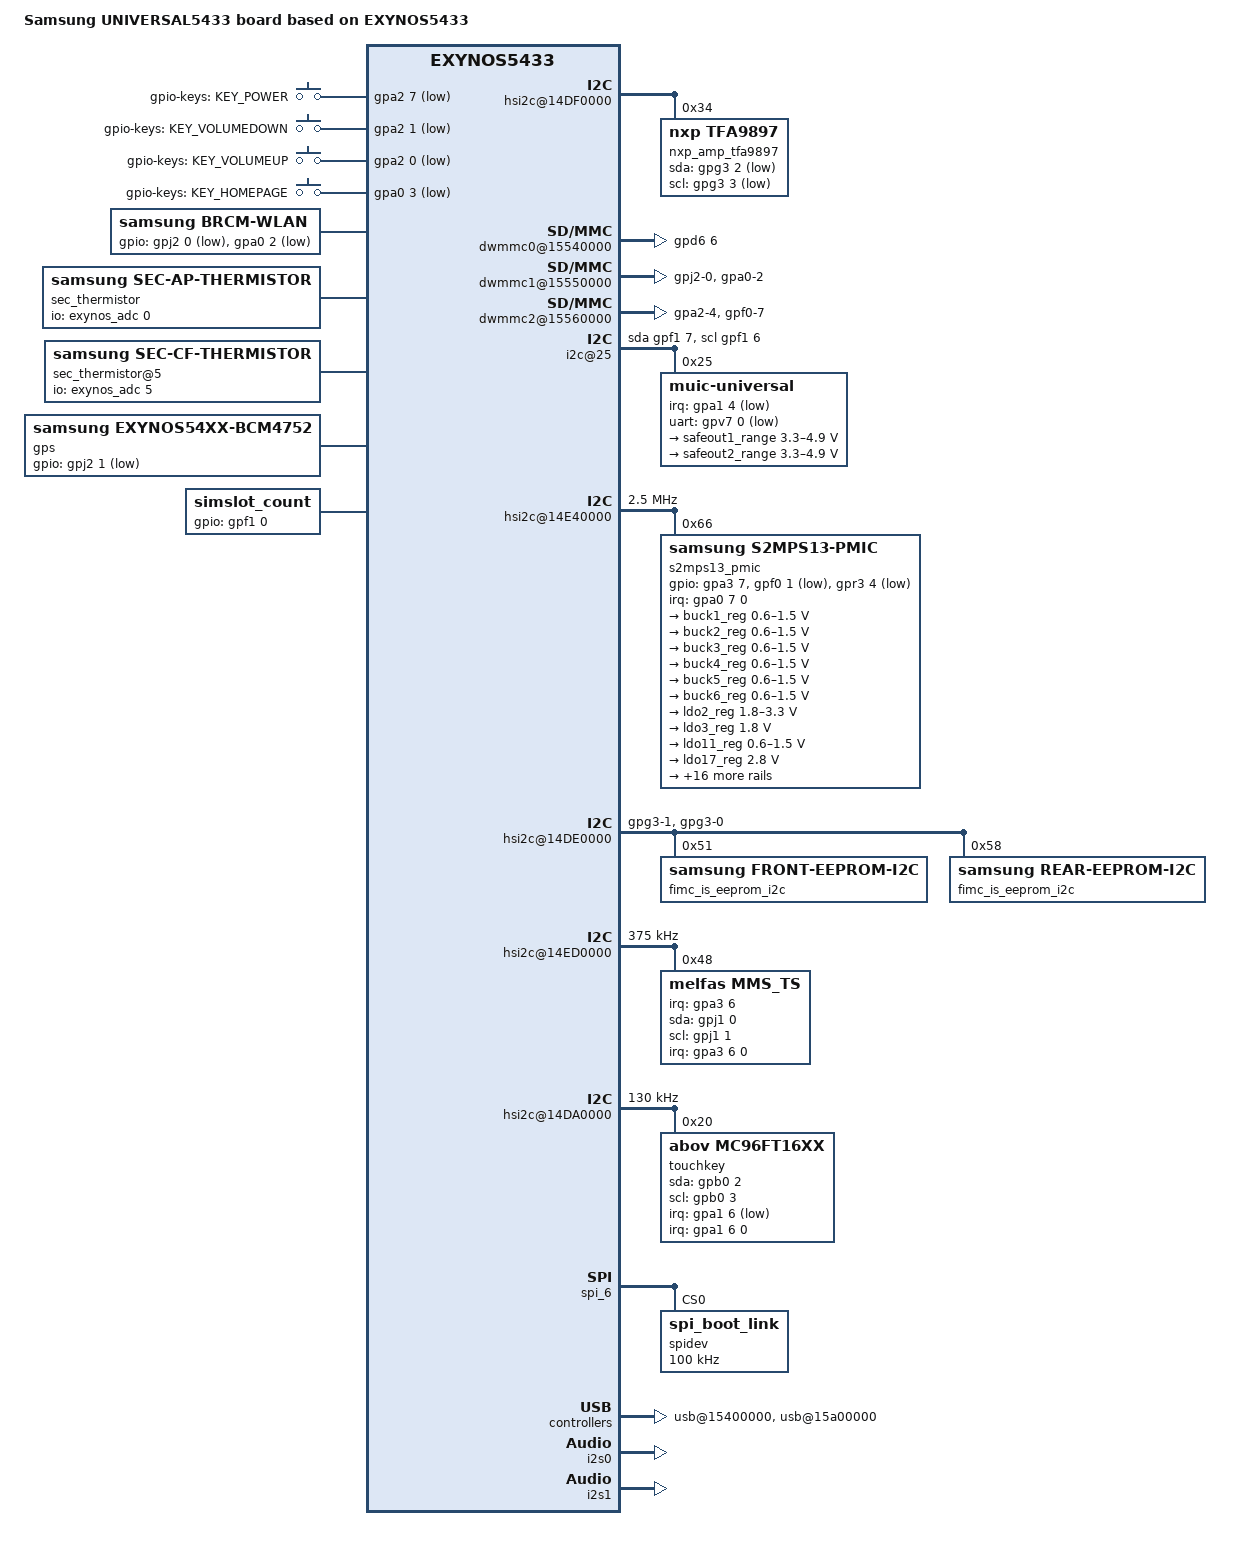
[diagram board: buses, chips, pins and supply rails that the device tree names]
/*
 * SAMSUNG UNIVERSAL5433 board device tree source
 *
 * Copyright (c) 2013 Samsung Electronics Co., Ltd.
 *		http://www.samsung.com
 *
 * This program is free software; you can redistribute it and/or modify
 * it under the terms of the GNU General Public License version 2 as
 * published by the Free Software Foundation.
*/

#include "exynos5433.dtsi"
#include "exynos5433-a8_codec-realtek.dtsi"

/ {

	model = "Samsung UNIVERSAL5433 board based on EXYNOS5433";
	compatible = "samsung,UNIVERSAL5433", "samsung,exynos5433";

	aliases {
		spi0 = &spi_0;
		spi1 = &spi_1;
		spi2 = &spi_2;
		spi3 = &spi_3;
		spi4 = &spi_4;
		spi5 = &spi_5;
		spi6 = &spi_6;
	};

	chosen {
		bootargs = "console=ttySAC1,115200 vmalloc=256M";
	};

	fixed-rate-clocks {
		oscclk {
			compatible = "samsung,exynos5433-oscclk";
			clock-frequency = <24000000>;
		};
	};

	/* removed unmatched settings */
	pinctrl@10580000 {
//		/delete-node/ hdmi_hdmi_hpd;
//		/delete-node/ hdmi_ext_hpd:
//		/delete-node/ hdmi_cec;
		/delete-node/ nfc_n5_en;
		/delete-node/ pcie_clkreq;
		/delete-node/ pcie_wake;
		/delete-node/ wlan_apstatus;
		/delete-node/ wlan_devicewake;
		/delete-node/ wlan_host_wake;
	};

	hsi2c@14DF0000 {
		samsung,i2c-sda-delay = <100>;
		samsung,i2c-max-bus-freq = <400000>;
		samsung,i2c-bus-num = <20>;
		status = "okay";
		nxp_amp_tfa9897@34 {
			compatible = "nxp,tfa9897";
			reg = <0x34>;
			nxp,sda-gpio = <&gpg3 2 0xf>;
			nxp,scl-gpio = <&gpg3 3 0xf>;
		};
	};

	dwmmc0@15540000 {
		status = "okay";
		num-slots = <1>;
		broken-cd;
		bypass-smu;
		clock-gate;
		enable-cclk-on-suspend;
		fixed_volt;
		only_once_tune;
		supports-highspeed;
		supports-hs200-1-8v-mode;
		supports-ddr200-1-8v-mode;
		supports-ddr200-enhanced-strobe;
		supports-poweroff-notification;
		device-driver = <1>;
		enable-cache-control;
		enable-no-sleep-cmd;
		use-fine-tuning;
		use-enable-shift;
		enable-ulp-mode;
		ignore-phase = <(1 << 7 | 1 << 6)>;
		extra_tuning;
		bypass-for-allpass;
		desc-size = <4>;
		fifo-depth = <0x80>;
		qos_int_level = <400000>;
		use-enable-shift;
		card-detect-delay = <200>;
		samsung,dw-mshc-ddr200-delay-line = <0x40>;
		samsung,dw-mshc-ddr200-tx-delay-line = <0x50>;
		samsung,dw-mshc-txdt-crc-timer-fastlimit = <0x34>;
		samsung,dw-mshc-txdt-crc-timer-initval = <0x38>;
		samsung,dw-mshc-ciu-div = <3>;
		samsung,dw-mshc-sdr-timing = <3 0 2 0>;
		samsung,dw-mshc-sdr-hs-timing = <3 0 2 1>;
		samsung,dw-mshc-ddr-timing = <3 0 3 2>;
		samsung,dw-mshc-hs200-timing = <3 0 3 0>;
		samsung,dw-mshc-ddr200-timing = <1 0 3 0>;
		samsung,dw-mshc-ddr200-ulp-timing = <3 0 3 0>;
		clk_pin = "gpr0-0";
		clk_addr = "15690000.pinctrl";
		clk_val = <0x3>;
		clk_str_num = <6>;
		num-ref-clks = <10>;
		ciu_clkin = <25 50 50 100 200 100 200 400 400 200>;
		pinctrl-names = "default";
		pinctrl-0 = <&sd0_clk &sd0_cmd &sd0_rdqs &sd0_bus1 &sd0_bus4 &sd0_bus8>;
		gpios = <&gpd6 6 0>;
		slot@0 {
			reg = <0>;
			bus-width = <8>;
		};
	};

	dwmmc1@15550000 {
		status = "okay";
		num-slots = <1>;
		channel = <1>;
		fixed_volt;
		clock-gate;
		enable-cclk-on-suspend;
		caps-control;
		supports-highspeed;
		supports-sdr104-mode;
		keep-power-in-suspend;
		pm-ignore-notify;
		cd-type-external;
		cd-type = <2>;
		use-broken-voltage;
		use-fine-tuning;
		ignore-phase = <(1 << 7)>;
		fifo-depth = <0x40>;
		card-detect-delay = <200>;
		qos_int_level = <200000>;
		samsung,dw-mshc-ciu-div = <3>;
		samsung,dw-mshc-sdr-timing = <3 0 2 1>;
		samsung,dw-mshc-ddr-timing = <3 0 3 2>;
		clk_pin = "gpr2-0";
		clk_addr = "15690000.pinctrl";
		clk_val = <0x2>;
		clk_str_num = <6>;
		num-ref-clks = <8>;
		ciu_clkin = <25 50 50 100 200 100 200 400>;
		pinctrl-names = "default";
		//pinctrl-0 = <&sd1_clk &sd1_cmd &sd1_bus1 &sd1_bus4>;
		pinctrl-0 = <&sd1_clk &sd1_cmd &sd1_bus1 &sd1_bus4 &cfg_wlanen &cfg_wlanhostwake>; /* Set WLAN_EN configuration of power down mode */

		slot@0 {
			reg = <0>;
			bus-width = <4>;
		};
	};

	dwmmc2@15560000 {
		status = "okay";
		num-slots = <1>;
		bypass-smu;
		supports-highspeed;
		supports-sdr104-mode;
		clock-gate;
		enable-cclk-on-suspend;
		fix-fmp-size-mismatch;
		not-allow-single-dma;
		desc-size = <4>;
		use-fine-tuning;
		bypass-for-allpass;
		cd-type = <0>;
		fifo-depth = <0x40>;
		card-detect-delay = <200>;
		qos_int_level = <400000>;
		ignore-phase = <(1 << 7)>;
		samsung,dw-mshc-ciu-div = <3>;
		samsung,dw-mshc-sdr-timing = <3 0 2 1>;
		samsung,dw-mshc-ddr-timing = <3 0 3 2>;
		clk_pin = "gpr4-0";
		clk_addr = "15690000.pinctrl";
		clk_val = <0x2>;
		clk_str_num = <6>;
		num-ref-clks = <8>;
		ciu_clkin = <25 50 50 100 200 100 200 400>;
		pinctrl-names = "default", "output";
		pinctrl-0 = <&sd2_clk &sd2_cmd &sd2_bus1 &sd2_bus4 &dwmmc2_cd_ext_irq &dwmmc2_vmmc_en_gpio>;
		pinctrl-1 = <&sd2_clk_output &sd2_cmd_output &sd2_bus1 &sd2_bus4 &dwmmc2_cd_ext_irq &dwmmc2_vmmc_en_gpio>;

		gpio-controller;
		#gpio-cells = <2>;
		cd-gpio = <&gpa2 4 0xf>;
		sec-sd-slot-type = <2>; /* Hybrid slot model */

		vmmc-en-gpio = <&gpf0 7 0x1>;

		slot@0 {
			reg = <0>;
			bus-width = <4>;
			disable-wp;
		};
	};

	/* LDO17_EN */
	pinctrl@11090000 {
		dwmmc2_vmmc_en_gpio: dwmmc2-vmmc-en-gpio {
			samsung,pins = "gpf0-7";
			samsung,pin-function = <0x1>;
			samsung,pin-pud = <0>;
		};
	};

	pinctrl@10580000 {
		/* HOME_KEY */
		ok_sw: ok-sw {
			samsung,pins = "gpa0-3";
			samsung,pin-pud = <3>;
			samsung,pin-drv = <0>;
		};
		/* VOL_UP VOL_DN */
		gpa2_none_pull: gpa2_none_pull {
			samsung,pins = "gpa2-0", "gpa2-1";
			samsung,pin-pud = <0>;
			samsung,pin-drv = <0>;
		};
		dwmmc2_cd_ext_irq: dwmmc2_cd_ext_irq {
			samsung,pins = "gpa2-4";
			samsung,pin-function = <0xf>;
			samsung,pin-pud = <0>;
			samsung,pin-drv = <0>;
		};
		pmic_irq: pmic-irq {
			samsung,pins = "gpa0-7";
			samsung,pin-pud = <0>;
			samsung,pin-drv = <3>;
		};
		muic_irq: muic-irq {
			samsung,pins = "gpa1-4";
			samsung,pin-function = <0>;
			samsung,pin-pud = <0>;
			samsung,pin-drv = <0>;
		};
		/* Warm reset information from AP */
		pm_wrsti: pm-wrsti {
			samsung,pins = "gpf5-4";
			samsung,pin-pud = <0>;
			samsung,pin-con-pdn = <3>;
		};

		gpa3_pull_up: gpa3_pull_up_for_smpl {
			samsung,pins = "gpa3-7";
			samsung,pin-function = <0xf>;
			samsung,pin-pud = <0>;
			samsung,pin-drv = <0>;
		};

		chg_irq: chg-irq {
			samsung,pins = "gpa0-0";
			samsung,pin-function = <0>;
			samsung,pin-pud = <1>;
			samsung,pin-drv = <0>;
		};
	};

	gpio_keys {
		compatible = "gpio-keys";
		#address-cells = <1>;
		#size-cells = <0>;
		pinctrl-names = "default";
		pinctrl-0 = <&ok_sw &gpa2_none_pull &chg_irq>;
		button@1 {
			label = "gpio-keys: KEY_POWER";
			interrupts = <7 0 0>;
			interrupt-parent = <&gpa2>;
			linux,code = <116>;
			gpios = <&gpa2 7 0xf>;
			gpio-key,wakeup = <1>;
		};
		button@2 {
			label = "gpio-keys: KEY_VOLUMEDOWN";
			interrupts = <1 0 0>;
			interrupt-parent = <&gpa2>;
			linux,code = <114>;
			gpios = <&gpa2 1 0xf>;
		};
		button@3 {
			label = "gpio-keys: KEY_VOLUMEUP";
			interrupts = <0 0 0>;
			interrupt-parent = <&gpa2>;
			linux,code = <115>;
			gpios = <&gpa2 0 0xf>;
		};
		button@4 {
			label = "gpio-keys: KEY_HOMEPAGE";
			interrupts = <3 0 0>;
			interrupt-parent = <&gpa0>;
			linux,code = <172>;
			gpios = <&gpa0 3 0xf>;
			gpio-key,wakeup = <1>;
		};
	};

	/* Touch I2C */
	pinctrl@14CE0000 {
		hs_i2c5_bus: hs-i2c5-bus {
			samsung,pins = "gpj1-1", "gpj1-0";
			samsung,pin-function = <4>;
			samsung,pin-pud = <0>;
			samsung,pin-drv = <0>;
			samsung,pin-con-pdn = <2>;
			samsung,pin-pud-pdn = <1>;
		};
	};

	/* USB & MUIC */
	pinctrl@14CC0000 {
		muic_i2c: muic_i2c {
			samsung,pins = "gpf1-6", "gpf1-7";
			samsung,pin-function = <1>;
			samsung,pin-pud = <0>;
			samsung,pin-drv = <0>;
		};

		uart_gpio: uart_gpio {
			samsung,pins = "gpv7-0";
			samsung,pin-function = <1>;
			samsung,pin-pud = <0>;
			samsung,pin-drv = <0>;
		};
	};

	i2c@25 {
		compatible = "i2c-gpio";
		gpios = <&gpf1 7 0 &gpf1 6 0>;
		i2c-gpio,delay-us = <2>;
		#address-cells = <1>;
		#size-cells = <0>;
		status = "ok";
		muic-universal@25 {
			compatible = "muic-universal";
			reg = <0x25>;
			pinctrl-names = "default";
			pinctrl-0 = <&muic_irq>;
			muic-universal,irq-gpio = <&gpa1 4 1>;
			muic-universal,uart-gpio = <&gpv7 0 1>;
			muic-universal,wakeup;

			regulators {
				ESAFEOUT1 {
					regulator-compatible = "safeout1";
					regulator-name = "safeout1_range";
					regulator-min-microvolt = <3300000>;
					regulator-max-microvolt = <4900000>;
					regulator-boot-on;
				};

				ESAFEOUT2 {
					regulator-compatible = "safeout2";
					regulator-name = "safeout2_range";
					regulator-min-microvolt = <3300000>;
					regulator-max-microvolt = <4900000>;
				};
			};

		};
	};
	usb_notifier {
		compatible = "samsung,usb-notifier";
	};

	muic {
		status = "disabled";
		muic,support-list = "+OTG:GND",
					"-MHL:1K",
					"-VZW Accessory:28.7K",
					"-VZW Incompatible:34K",
					"-Smartdock:40.2K",
					"-HMT:49.9K",
					"-Audiodock:64.9K",
					"-USB LANHUB:80.07K",
					"+Charging Cable:102K",
					"-Universal Multimedia dock:121K",
					"+Jig USB Off:255K",
					"+Jig USB On:301K",
					"+Deskdock:365K",
					"+TYPE2 Charger:442K",
					"+Jig UART Off:523K",
					"+Jig UART On:619K",
					"+TA:OPEN",
					"+USB:OPEN",
					"+CDP:OPEN",
					"+Undefined Charging:XXX";
	};

	pinctrl@14CA0000 {
		cfg_wlanen: cfg-wlanen {
			samsung,pins = "gpj2-0";
			samsung,pin-function = <1>;
			samsung,pin-drv = <3>;
			samsung,pin-con-pdn = <3>;
		};
	};

	pinctrl@10580000 {
		cfg_wlanhostwake: cfg-wlanhostwake {
			samsung,pins = "gpa0-2";
			samsung,pin-function = <0>;
			samsung,pin-pud = <1>;
			samsung,pin-con-pdn = <2>;
			samsung,pin-pud-pdn = <0>;
		};
	};

	wlan {
		compatible = "samsung,brcm-wlan";
		gpios = <&gpj2 0 0x1	/* WLAN_EN */
			 &gpa0 2 0xF	/* WLAN_HOST_WAKE */>;
		pinctrl-names = "default";
		pinctrl-0=<&cfg_wlanen &cfg_wlanhostwake>;
		status = "okay";
	};

	hsi2c@14E40000 {
		status = "okay";
		samsung,hs-mode;
		clock-frequency = <2500000>;

		s2mps13_pmic@66 {
			compatible = "samsung,s2mps13-pmic";
			reg = <0x66>;
			interrupts = <7 0 0>;
			interrupt-parent = <&gpa0>;
			gpios = <&gpa3 7 0>, <&gpf0 1 0x0>, <&gpg1 1 0x1>;
			smpl_warn_vth = <0x00>; /* 2.3V */
			smpl_warn_en = <1>; /* 1 : enable , 0 : disable*/
			g3d_en = <0>; /* 1 : enable , 0 : disable */
			dvs_en = <1>; /* 1 : enable , 0 : disable */
			/* RTC: wtsr/smpl */
			wtsr_en = <1>; /* enable */
			smpl_en = <1>; /* enable */
			wtsr_timer_val = <3>;	/* 1000ms */
			smpl_timer_val = <4>;	/* 500ms */
			check_jigon = <0>; /* do not check jigon */
			/* RTC: If it's first boot, reset rtc to 1/1/2014 12:00:00(Wed) */
			init_time,sec = <0>;
			init_time,min = <0>;
			init_time,hour = <12>;
			init_time,mday = <1>;
			init_time,mon = <0>;
			init_time,year = <114>;
			init_time,wday = <3>;
		};
	};

	hsi2c@14DE0000 {
		samsung,i2c-sda-delay = <100>;
		samsung,i2c-max-bus-freq = <400000>;
		status = "okay";
		pinctrl-names = "default";
		pinctrl-0 = <&hs_i2c10_bus>;
		fimc_is_eeprom_i2c@51 {
			compatible = "samsung,front-eeprom-i2c";
			use_i2c_pinctrl;
			reg = <0x51>;
			fimc_is_front_eeprom_pinname = "14cc0000.pinctrl";
			fimc_is_front_eeprom_sda ="gpg3-0"; //"gpc2-2";
			fimc_is_front_eeprom_scl = "gpg3-1"; // "gpc2-3";
			pinfunc_on = <4>;
			pinfunc_off = <0>;
		};
		fimc_is_eeprom_i2c@58 {
			compatible = "samsung,rear-eeprom-i2c";
			use_i2c_pinctrl;
			reg = <0x58>;
			fimc_is_rear_eeprom_pinname = "14cc0000.pinctrl";
			fimc_is_rear_eeprom_sda = "gpg3-0"; //"gpc2-2";
			fimc_is_rear_eeprom_scl = "gpg3-1"; // "gpc2-3";
			pinfunc_on = <4>;
			pinfunc_off = <0>;
		};
	};

	pinctrl@14CC0000 {
		hs_i2c10_bus: hs-i2c10-bus {
			samsung,pins = "gpg3-1", "gpg3-0";
			samsung,pin-function = <0>;
			samsung,pin-pud = <0>;
			samsung,pin-drv = <0>;
		};
	};

	pinctrl@10580000 {
		tsp_irq_active: tsp_irq_active {
			samsung,pins = "gpa3-6";
			samsung,pin-function = <0xf>;
			samsung,pin-pud = <0>;
			samsung,pin-drv = <0>;
		};
		tsp_irq_sleep: tsp_irq_sleep {
			samsung,pins = "gpa3-6";
			samsung,pin-function = <0>;
			samsung,pin-pud = <0>;
			samsung,pin-drv = <0>;
		};
	};

	hsi2c@14ED0000 {
		samsung,transfer_delay = <100>;
		clock-frequency = <375000>;
		status = "okay";
		mms_ts@48 {
			compatible = "melfas,mms_ts";
			reg = <0x48>; /*slave address*/
			interrupt-parent = <&gpa3>;
			interrupts = <6 0 0>; /* Touch int gpio */
			pinctrl-names = "tsp_gpio_active", "tsp_gpio_suspend";
			pinctrl-0 = <&tsp_irq_active>;
			pinctrl-1 = <&tsp_irq_sleep>;
			melfas,regulator_avdd = "tsp_avdd";
			melfas,regulator_vdd = "tsp_io";
			melfas,irq-gpio = <&gpa3 6 0>; /*TSP IRQ GPIO */
			melfas,sda-gpio = <&gpj1 0 0>;
			melfas,scl-gpio = <&gpj1 1 0>;
			melfas,max_x = <2160>; /*max x*/
			melfas,max_y = <3840>; /*max y*/
		};
	};

	pinctrl@10580000 {
		touchkey_int_active: touchkey_int_active {
			samsung,pins = "gpa1-6";
			samsung,pin-function = <0xf>;
			samsung,pin-pud = <0>;
			samsung,pin-drv = <0>;
		};
		touchkey_int_suspend: touchkey_int_suspend {
			samsung,pins = "gpa1-6";
			samsung,pin-function = <0>;
			samsung,pin-pud = <0>;
			samsung,pin-drv = <0>;
		};
	};

	hsi2c@14DA0000 {
		status = "okay";
		clock-frequency = <130000>;
		samsung,scl-clk-stretching;

		touchkey@20 {
			pinctrl-names = "on_irq","off_irq";
			pinctrl-0 = <&touchkey_int_active>;
			pinctrl-1 = <&touchkey_int_suspend>;
			compatible = "abov,mc96ft16xx";
			reg = <0x20>;
			interrupts = <6 0 0>;
			interrupt-parent = <&gpa1>;
			abov,sda-gpio = <&gpb0 2 0>;
			abov,scl-gpio = <&gpb0 3 0>;
			abov,irq-gpio = <&gpa1 6 1>;
			abov,regulator_ic = "vtouch_2.8v";
			abov,regulator_led = "vtouch_led_2.8v";
			abov,boot-on-ldo = "true";
		};
	};

	input_booster {
		status = "okay";
		compatible = "input_booster";
		#address-cells = <1>;
		#size-cells = <0>;

		booster_key@1{
			input_booster,label = "TOUCH";
			input_booster,type = <0>;	/* BOOSTER_DEVICE_TOUCH */

			input_booster,levels = <1 2 3 4 5 9 10>;

			/* Frequency table */
			/* for level	:		1_Head, 2_Tail, 3_Head, 4_Head/Tail, 5_Head, 9_Head, 9_Tail */
			input_booster,cpu_freqs = <1200000 0 0 0 0 1800000 1400000>;
			input_booster,hmp_boost = <1 0 0 0 0 1 1>;
			input_booster,kfc_freqs = <0 1200000 1200000 1200000 1200000 1300000 1300000>;
			input_booster,mif_freqs = <667000 413000 413000 413000 413000 825000 825000>;
			input_booster,int_freqs = <267000 0 0 0 0 400000 400000>;

			/* Time table */
			input_booster,head_times = <130 130 130 130 130 500 0>;
			input_booster,tail_times = <500 500 500 200 500 1000 0>;
			input_booster,phase_times = <0 0 0 0 0 0 0>;
		};
		booster_key@2 {
			input_booster,label = "KEY";
			input_booster,type = <2>;	/* BOOSTER_DEVICE_KEY */

			input_booster,levels = <1>;

			/* Frequency table */
			/* for level	:	1_Head */
			input_booster,cpu_freqs = <1200000>;
			input_booster,hmp_boost = <1>;
			input_booster,kfc_freqs = <0>;
			input_booster,mif_freqs = <0>;
			input_booster,int_freqs = <0>;

			/* Time table */
			input_booster,head_times = <500>;
			input_booster,tail_times = <500>;
			input_booster,phase_times = <0>;
		};
		booster_key@3 {
			input_booster,label = "TOUCHKEY";
			input_booster,type = <3>;	/* BOOSTER_DEVICE_TOUCHKEY */

			input_booster,levels = <1>;

			/* Frequency table */
			/* for level	:	1_Head */
			input_booster,cpu_freqs = <1200000>;
			input_booster,hmp_boost = <1>;
			input_booster,kfc_freqs = <0>;
			input_booster,mif_freqs = <0>;
			input_booster,int_freqs = <0>;

			/* Time table */
			input_booster,head_times = <0>;
			input_booster,tail_times = <200>;
			input_booster,phase_times = <0>;
		};

		/* If you need to add new key type, add it this position */
	};

	ion {
		compatible = "samsung,exynos5430-ion";

		contig-names = "common",
			       "video_ext",
			       "mfc_sh",
			       "g2d_wfd",
			       "video",
			       "sectbl",
			       "mfc_fw",
			       "mfc_nfw",
			       "secdma";

		contig = <0 0x600000 0x9da00000>,
			 <1 0x600000 0x9d400000>,
			 <2 0x100000 0x92900000>,
			 <10 0x800000 0x9cc00000>,
			 <11 0x8100000 0x92a00000>,
			 <9 0x100000 0x92400000>,
			 <8 0x200000 0x92700000>,
			 <12 0x200000 0x92500000>,
			 <13 0x20000 0x92300000>;

		contig-isolate_on_boot = <0>, <1>, <2>, <8>,
					  <9>, <10>, <11>, <12>, <13>;

		secure = <11>, <9>, <8>, <1>;

		ion_noncontig_heap {
			id-type = <0 0>;
		};

		exynos_contig_heap {
			id-type = <4 6>;
		};
	};

	spi_5: spi@141a0000 {
		status = "disabled";
	};

	spi_6: spi@141b0000 {
		fimc-is-spi;
		status = "okay";

		spidev@0 {
			#address-cells = <1>;
			#size-cells = <1>;
			compatible = "spi_boot_link";
			reg = <0x0>;
			spi-max-frequency = <100000>;

			controller-data {
				samsung,spi-feedback-delay = <0>;
				samsung,spi-chip-select-mode = <1>;
			};
		};
	};


	/* Companion driver */
	fimc_is_companion: fimc_is_companion@14180000 {
		status = "disabled";
	};

	fimc_is_sensor0: fimc_is_sensor@12100000 {
		scenario = <0>;
		clock-names =
			/* SENSOR0 MCLK */
			"sclk_isp_sensor0",		/* 33 */
			"mout_sclk_isp_sensor0",	/* 3066 */
			"dout_sclk_isp_sensor0_a",	/* 4090 */
			"dout_sclk_isp_sensor0_b",	/* 4091 */

			"mout_bus_pll_user",		/* 3010 */
			"oscclk",			/* 5000 */

			/* SPI-ISP */
			"sclk_isp_spi0_top",		/* 30 */
			"sclk_isp_spi1_top",		/* 31 */
			"mout_sclk_isp_spi0",		/* 3063 */
			"mout_sclk_isp_spi1",		/* 3064 */

			"gate_isp_spi1",		/* 2625 */
			"gate_isp_spi0",		/* 2626 */
			"dout_sclk_isp_spi0_a",		/* 4080 */
			"dout_sclk_isp_spi0_b",		/* 4081 */
			"dout_sclk_isp_spi1_a",		/* 4082 */
			"dout_sclk_isp_spi1_b",		/* 4083 */

			"mout_sclk_isp_spi0_user",	/* 3180 */
			"mout_sclk_isp_spi1_user",	/* 3181 */

			/* CMU TOP */
			"dout_aclk_cam1_333",		/* 4047 */

			/* USER_MUX_SEL */
			"aclk_cam1_333",		/* 342 */
			"mout_aclk_cam1_333_user",	/* 3225 */

			/* MPWM */
			"dout_pclk_cam1_166",		/* 4183 */
			"dout_pclk_cam1_83",		/* 4184 */
			"dout_sclk_isp_mpwm";		/* 4185 */
		clocks =
			/* SENSOR0 MCLK */
			<&clock 33>,
			<&clock 3066>,
			<&clock 4090>,
			<&clock 4091>,

			<&clock 3010>,
			<&clock 5000>,

			/* SPI-ISP */
			<&clock 30>,
			<&clock 31>,
			<&clock 3063>,
			<&clock 3064>,

			<&clock 2625>,
			<&clock 2626>,
			<&clock 4080>,
			<&clock 4081>,
			<&clock 4082>,
			<&clock 4083>,

			<&clock 3180>,
			<&clock 3181>,

			/* CMU TOP */
			<&clock 4047>,

			/* USER_MUX_SEL */
			<&clock 342>,
			<&clock 3225>,

			/* MPWM */
			<&clock 4183>,
			<&clock 4184>,
			<&clock 4185>;
		pinctrl-names ="default", "ch0", "af0", "off0";
		pinctrl-0 = <&fimc_is_ch0_i2c &fimc_is_ch0_mclk_off &fimc_is_ch1_i2c>;
		pinctrl-1 = <&fimc_is_ch0_i2c &fimc_is_ch0_mclk>;
		pinctrl-2 = <&fimc_is_ch0_i2c &fimc_is_ch0_mclk &fimc_is_ch1_i2c>;
		pinctrl-3 = <&fimc_is_ch0_mclk_off>;

		scenario = <0>;
		gpio_reset = <&gpc0 4 0x1>;
		gpios_cam_en = <&gpc0 5 0x1>;
		id = <0>;
		mclk_ch = <0>;
		csi_ch = <0>;
		flite_ch = <0>;
		i2c_ch = <0x010100>;
		i2c_addr = <0x001800>;
		actuator_id = <13>;
		flash_id = <3>;
		flash_first_gpio = <1>;
		flash_second_gpio = <2>;
		sensor_name = "3p3";
		sensor_id = <23>;
		is_bns = <1>;
		status = "okay";
	};

	fimc_is_sensor1: fimc_is_sensor@12110000 {
		pinctrl-names ="default", "ch1", "off1";
		pinctrl-0 = <&fimc_is_ch2_mclk_off>;
		pinctrl-1 = <&fimc_is_ch2_i2c &fimc_is_ch2_mclk>;
		pinctrl-2 = <&fimc_is_ch2_mclk_off>;

		scenario = <0>;
		gpio_reset = <&gpc0 3 0x1>;
		id = <1>;
		mclk_ch = <2>;
		csi_ch = <1>;
		flite_ch = <1>;
		i2c_ch = <0x2>;
		i2c_addr = <0x20>;
		sensor_name = "5e3";
		sensor_id = <17>;
		is_bns = <0>;
		status = "okay";
	};

	fimc_is@14000000 {
		interrupts = <0 165 0>; /* Remove ISP_GIC to use FIMC IS i2c channel in host */
		companion_spi_channel = <0>;

		use_sensor_dynamic_voltage_mode = <1>;
		/delete-property/ use_ois;
		/delete-property/ use_ois_hsi2c;
		use_module_check;
		/delete-property/ pinctrl-names;
		/delete-property/ pinctrl-0;
		total_camera_num = <2>;

		camera_info0 {				// 0 : rear
			isp = <0>;				/* 0 : INT , 1 : EXT , 2 : SOC */
			cal_memory = <2>;		/* 0 : N , 1 : FROM , 2 : EEPROM , 3 : OTP  */
			read_version = <0>;		/* 0 : SYSFS , 1 : CAMON */
			core_voltage = <0>;		/* 0 : N , 1 : Y  */
			upgrade = <0>;			/* 0 : N , 1 : SYSFS , 2 : CAMON */
			companion = <0>;	/* 0 : N , 1 : Y  */
			ois = <0>;				/* 0 : N , 1 : Y  */
		};
		camera_info1 {				// 1 : front
			isp = <0>;				/* 0 : INT , 1 : EXT , 2 : SOC */
			cal_memory = <2>;		/* 0 : N , 1 : FROM , 2 : EEPROM , 3 : OTP  */
			read_version = <0>;		/* 0 : SYSFS , 1 : CAMON */
			core_voltage = <0>;		/* 0 : N , 1 : Y  */
			upgrade = <0>;			/* 0 : N , 1 : SYSFS , 2 : CAMON */
			companion = <0>;	/* 0 : N , 1 : Y  */
			ois = <0>;				/* 0 : N , 1 : Y  */
		};

		/*
		 * INT_LV0 : 400000
		 * INT_LV1 : 334000
		 * INT_LV2 : 267000
		 * INT_LV3 : 200000
		 * INT_LV4 : 160000
		 * INT_LV5 : 133000
		 * INT_LV6 : 100000

		 * ISP_LV0 : 777000	// CAM0(L0), ISP&CAM1(L0)
		 * ISP_LV1 : 666000	// CAM0(L0), ISP&CAM1(L1)
		 * ISP_LV2 : 600000	// CAM0(L0), ISP&CAM1(L3)
		 * ISP_LV3 : 580000	// CAM0(L0), ISP&CAM1(L4)
		 * ISP_LV4 : 555000	// CAM0(L1), ISP&CAM1(L4)
		 * ISP_LV5 : 444000	// CAM0(L2), ISP&CAM1(L2)
		 * ISP_LV6 : 333000	// CAM0(L2), ISP&CAM1(L3)
		 * ISP_LV7 : 222000	// CAM0(L3), ISP&CAM1(L2)
		 * ISP_LV8 : 200000	// CAM0(L3), ISP&CAM1(L3)
		 * ISP_LV9 : 111000	// CAM0(L4), ISP&CAM1(L3)
		 * ISP_LV1 :  66000	// CAM0(L5), ISP&CAM1(L5)

		 * MIF_LV0 : 825000
		 * MIF_LV1 : 667000
		 * MIF_LV2 : 543000
		 * MIF_LV3 : 413000
		 * MIF_LV4 : 272000
		 * MIF_LV5 : 222000
		 * MIF_LV6 : 167000
		 * MIF_LV7 : 136000
		 * MIF_LV8 : 109000
		 * MIF_LV9 :  78000
		*/
		fimc_is_dvfs {
			default_int = <400000>; /* L0 */
			default_cam = <777000>; /* L0 */
			default_mif = <825000>; /* L0 */
			default_i2c = <0>;

			front_preview_int = <400000>; /* L0 */
			front_preview_cam = <666000>; /* L1 */
			front_preview_mif = <543000>; /* L2 */
			front_preview_i2c = <0>;

			front_capture_int = <400000>; /* L0 */
			front_capture_cam = <666000>; /* L1 */
			front_capture_mif = <543000>; /* L2 */
			front_capture_i2c = <0>;

			front_camcording_int = <400000>; /* L0 */
			front_camcording_cam = <666000>; /* L1 */
			front_camcording_mif = <543000>; /* L2 */
			front_camcording_i2c = <0>;

			front_vt1_int = <267000>; /* L2 */
			front_vt1_cam = <333000>; /* L6 */
			front_vt1_mif = <543000>; /* L2 */
			front_vt1_i2c = <0>;

			front_vt2_int = <267000>; /* L2 */
			front_vt2_cam = <333000>; /* L6 */
			front_vt2_mif = <543000>; /* L2 */
			front_vt2_i2c = <0>;

			rear_preview_fhd_bns_off_int = <267000>; /* L2 */
			rear_preview_fhd_bns_off_cam = <580000>; /* L3 */
			rear_preview_fhd_bns_off_mif = <543000>; /* L2 */
			rear_preview_fhd_bns_off_i2c = <0>;

			rear_preview_fhd_int = <267000>; /* L2 */
			rear_preview_fhd_cam = <580000>; /* L3 */
			rear_preview_fhd_mif = <543000>; /* L2 */
			rear_preview_fhd_i2c = <0>;

			rear_preview_whd_int = <334000>; /* L1 */
			rear_preview_whd_cam = <600000>; /* L2 */
			rear_preview_whd_mif = <667000>; /* L1 */
			rear_preview_whd_i2c = <0>;

			rear_preview_uhd_int = <400000>; /* L0 */
			rear_preview_uhd_cam = <666000>; /* L1 */
			rear_preview_uhd_mif = <825000>; /* L0 */
			rear_preview_uhd_i2c = <0>;

			rear_capture_int = <400000>; /* L0 */
			rear_capture_cam = <777000>; /* L0 */
			rear_capture_mif = <667000>; /* L1 */
			rear_capture_i2c = <0>;

			rear_camcording_fhd_bns_off_int = <267000>; /* L2 */
			rear_camcording_fhd_bns_off_cam = <580000>; /* L3 */
			rear_camcording_fhd_bns_off_mif = <543000>; /* L2 */
			rear_camcording_fhd_bns_off_i2c = <0>;

			rear_camcording_fhd_int = <267000>; /* L2 */
			rear_camcording_fhd_cam = <580000>; /* L3 */
			rear_camcording_fhd_mif = <543000>; /* L2 */
			rear_camcording_fhd_i2c = <0>;

			rear_camcording_whd_int = <334000>; /* L1 */
			rear_camcording_whd_cam = <600000>; /* L2 */
			rear_camcording_whd_mif = <667000>; /* L1 */
			rear_camcording_whd_i2c = <0>;

			rear_camcording_uhd_int = <400000>; /* L0 */
			rear_camcording_uhd_cam = <666000>; /* L1 */
			rear_camcording_uhd_mif = <825000>; /* L0 */
			rear_camcording_uhd_i2c = <0>;

			dual_preview_int = <334000>; /* L1 */
			dual_preview_cam = <444000>; /* L5 */
			dual_preview_mif = <825000>; /* L0 */
			dual_preview_i2c = <0>;

			dual_capture_int = <400000>; /* L0 */
			dual_capture_cam = <777000>; /* L0 */
			dual_capture_mif = <825000>; /* L0 */
			dual_capture_i2c = <0>;

			dual_camcording_int = <334000>; /* L1 */
			dual_camcording_cam = <444000>; /* L5 */
			dual_camcording_mif = <825000>; /* L0 */
			dual_camcording_i2c = <0>;

			high_speed_fps_int = <400000>; /* L0 */
			high_speed_fps_cam = <222000>; /* L7 */
			high_speed_fps_mif = <825000>; /* L0 */
			high_speed_fps_i2c = <0>;

			dis_enable_int = <400000>; /* L0 */
			dis_enable_cam = <777000>; /* L0 */
			dis_enable_mif = <825000>; /* L0 */
			dis_enable_i2c = <0>;

			max_int = <400000>; /* L0 */
			max_cam = <777000>; /* L0 */
			max_mif = <825000>; /* L0 */
			max_i2c = <0>;
		};
	};

	/* FIMC gpio pin configs */
	pinctrl@14CC0000 {
		fled_flash_sleep: fled-flash-sleep {
			samsung,pins = "gpc0-2", "gpc0-1";
			samsung,pin-function = <2>;
			samsung,pin-pud = <1>;
			samsung,pin-drv = <0>;
		};

		fled_flash_active: fled-flash-active {
			samsung,pins = "gpc0-2", "gpc0-1";
			samsung,pin-function = <1>;
			samsung,pin-pud = <0>;
			samsung,pin-drv = <0>;
		};

		fimc_is_ch0_i2c: fimc-is-ch0_i2c {
			samsung,pins = "gpc2-1", "gpc2-0";
			samsung,pin-function = <2>;
			samsung,pin-pud = <0>;
			samsung,pin-drv = <0>;
		};

		fimc_is_ch0_mclk: fimc-is-ch0_mclk {
			samsung,pin-drv = <1>;
		};

		fimc_is_ch0_mclk_off: fimc-is-ch0_mclk_off {
			samsung,pins = "gpd7-0";
			samsung,pin-function = <1>;
			samsung,pin-pud = <1>;
			samsung,pin-drv = <0>;
		};

		fimc_is_ch2_mclk: fimc-is-ch2-mclk {
			samsung,pin-drv = <1>;
		};

		fimc_is_ch2_mclk_off: fimc-is-ch2-mclk-off {
			samsung,pins = "gpd7-2";
			samsung,pin-function = <1>;
			samsung,pin-pud = <1>;
			samsung,pin-drv = <0>;
		};
	};

	/* USB */
	usb@15400000 {
		status = "okay";
		/* using gpio (1:use, 0:not use) */
		is_gpio = <0>;

		dwc3 {
			maximum-speed = "high-speed";
			dr_mode = "otg";
			adj-sof-accuracy;
		};
	};

	usb@15a00000 {
		status = "okay";
		/* using gpio (1:use, 0:not use) */
		is_gpio = <0>;

		dwc3 {
			maximum-speed = "high-speed";
			dr_mode = "otg";
		};
	};

	/* THERMAL */
	ipa_pdata {
		compatible = "samsung,exynos-ipa";

		control_temp = <81>;
		temp_threshold = <30>;
		enabled = <1>;
		tdp = <3500>;
		boost = <1>;
		ros_power = <500>;
		a7_weight = <1024>;
		a15_weight = <256>;
		gpu_weight = <256>;
		a7_max_power = <1000>;
		a15_max_power = <6552>;
		gpu_max_power = <3110>;
		hotplug_out_threshold = <10>;
		hotplug_in_threshold = <0>;
		enable_ctlr = <1>;
		ctlr.mult = <2>;
		ctlr.k_i = <1>;
		ctlr.k_d = <0>;
		ctlr.feed_forward = <1>;
		ctlr.integral_reset_value = <0>;
		ctlr.integral_cutoff = <0>;
		ctlr.integral_reset_threshold = <10>;
	};

	i2s0: i2s@11440000 {
		status = "okay";
	};

	i2s1: i2s@14D60000 {
		status = "okay";
	};

	i2s_dummy: dummy-i2s {
		compatible = "snd-soc-dummy";
		status = "okay";
	};

	codec_dummy: dummy-codec {
		compatible = "samsung,dummy-codec";
		status = "okay";
	};

/*	sound {
		compatible = "samsung,pacific-arizona";
		samsung,audio-cpu = <&i2s0>;
		samsung,audio-codec = <&audio_codec
				       &audio_codec
				       &audio_codec
				       &audio_codec
				       &audio_codec
				       &audio_codec
				       &audio_codec
				       &audio_codec
				       &audio_codec
				       &audio_codec>;
		clocks = <&clock 4300>;
		clock-names = "mclk";
		status = "okay";
	}; */

	secgpio_dvs {
		compatible = "samsung,exynos5433-secgpio-dvs";
		status = "okay";
	};

	/* Thermister */
	sec_thermistor {
		compatible = "samsung,sec-ap-thermistor";
		status = "okay";

		adc_array = <215 224 234 243 253 262 271 281 290 300
			309 322 335 348 361 374 389 404 418 433
			448 465 482 499 516 533 553 573 594 614
			634 658 682 705 729 753 780 807 833 860
			887 918 948 979 1009 1040 1076 1112 1147 1183
			1219 1257 1295 1332 1370 1408 1448 1489 1529 1570
			1610 1653 1696 1739 1782 1825 1869 1913 1957 2001
			2045 2090 2134 2179 2223 2268 2310 2352 2395 2437
			2479 2520 2561 2601 2642 2683 2720 2757 2793 2830
			2867 2903 2939 2975 3011 3047 3077 3106 3136 3165
			3195 3221 3247 3274 3300 3326 3348 3370 3392 3414
			3436>;
		temp_array = <900 890 880 870 860 850 840 830 820 810
			800 790 780 770 760 750 740 730 720 710
			700 690 680 670 660 650 640 630 620 610
			600 590 580 570 560 550 540 530 520 510
			500 490 480 470 460 450 440 430 420 410
			400 390 380 370 360 350 340 330 320 310
			300 290 280 270 260 250 240 230 220 210
			200 190 180 170 160 150 140 130 120 110
			100 90 80 70 60 50 40 30 20 10
			0 (-10) (-20) (-30) (-40) (-50) (-60) (-70) (-80) (-90)
			(-100)(-110)(-120)(-130)(-140)(-150)(-160)(-170)(-180)(-190)
			(-200)>;

		io-channels = <&exynos_adc 0>;
		io-channel-names = "adc-ap-temp";
		io-channel-ranges;
	};

	sec_thermistor@5 {
		compatible = "samsung,sec-cf-thermistor";
		status = "okay";

		adc_array = <215 224 234 243 253 262 271 281 290 300
			309 322 335 348 361 374 389 404 418 433
			448 465 482 499 516 533 553 573 594 614
			634 658 682 705 729 753 780 807 833 860
			887 918 948 979 1009 1040 1076 1112 1147 1183
			1219 1257 1295 1332 1370 1408 1448 1489 1529 1570
			1610 1653 1696 1739 1782 1825 1869 1913 1957 2001
			2045 2090 2134 2179 2223 2268 2310 2352 2395 2437
			2479 2520 2561 2601 2642 2683 2720 2757 2793 2830
			2867 2903 2939 2975 3011 3047 3077 3106 3136 3165
			3195 3221 3247 3274 3300 3326 3348 3370 3392 3414
			3436>;
		temp_array = <900 890 880 870 860 850 840 830 820 810
			800 790 780 770 760 750 740 730 720 710
			700 690 680 670 660 650 640 630 620 610
			600 590 580 570 560 550 540 530 520 510
			500 490 480 470 460 450 440 430 420 410
			400 390 380 370 360 350 340 330 320 310
			300 290 280 270 260 250 240 230 220 210
			200 190 180 170 160 150 140 130 120 110
			100 90 80 70 60 50 40 30 20 10
			0 (-10) (-20) (-30) (-40) (-50) (-60) (-70) (-80) (-90)
			(-100)(-110)(-120)(-130)(-140)(-150)(-160)(-170)(-180)(-190)
			(-200)>;

		io-channels = <&exynos_adc 5>;
		io-channel-names = "adc-cf-temp";
		io-channel-ranges;
	};

	argos {
		compatible = "samsung,argos";
		#address-cells = <1>;
		 /*  The device number should be assigned for each device, e.g. "boot_device@1" and "boot_device@2".
		   Duplicated number is not allowed. Please refer the below example. */

		 boot_device@1 {
			net_boost,label="IPC";
			net_boost,node="rmnet0 rmnet1 rmnet2 rmnet3 rmnet4 rmnet5 rmnet6 rmnet7";
			net_boost,table_size = <2>;
			net_boost,table= <100 0 0 1100000 0 825000 100000 0 1 0
					  130 0 0 1300000 0 825000 100000 0 1 0>;
		};
		/* Example
		   boot_device@2 {
			net_boost,label="WIFI";
			net_boost,node="wlan0";
			net_boost,table_size = <2>;
					 <Throughput(Mbps) ARM_min ARM_max KFC_min KFC_max MIF INT Task Irq HMPBoost>
			net_boost,table= <100 1000000 1000000 800000 800000 512000 256000 0 0 0
					  300 1500000 1500000 1000000 1000000 826000 413000 1 0 0>;
		};
		*/
		boot_device@2 {
			net_boost,label="EMMC";
			net_boost,node="";
			net_boost,sysnode="/sys/class/mmc_host/mmc0/trans_count";
			net_boost,table_size = <1>;
 			/*               <Throughput(Mbps) ARM_min ARM_max KFC_min KFC_max MIF INT Task Irq HMPBoost> */
			net_boost,table= <64 0 0 1300000 0 825000 400000 0 0 0>;
		};
		boot_device@3 {
			net_boost,label="P2P";
			net_boost,node="p2p-wlan0-0";
			net_boost,table_size = <3>;
			/*		 <Throughput ARM_min ARM_max KFC_min KFC_max MIF INT Task Irq HMPBoost> */
			net_boost,table= <30 1000000 0 800000 0 0 200000 0 0 0
					  50 1200000 0 1000000 0 0 200000 0 0 0
					  90 1700000 0 1100000 0 543000 267000 0 0 1>;
		};
		boot_device@4 {
			net_boost,label="CLAT";
			net_boost,node="clat clat4";
			net_boost,table_size = <3>;
			/*		 <Throughput ARM_min ARM_max KFC_min KFC_max MIF INT Task Irq HMPBoost> */
			net_boost,table= <120 1400000 0 0 0 825000 0 0 0 0
					  130 1500000 0 0 0 825000 0 0 0 0
					  150 1600000 0 0 0 825000 0 0 0 0>;
		};

		boot_device@5 {
			net_boost,label="WIFI";
			net_boost,node="wlan0";
			net_boost,table_size = <1>;
			net_boost,table= <
				180 0 0 0 0 0 0 1 1 1
				>;
		 };
		boot_device@6 {
			net_boost,label="WIFI TX";
			net_boost,node="wlan0";
			net_boost,table_size = <3>;
			net_boost,table= <60 1000000 0 800000 0 0 200000 0 0 0
					  100 1200000 0 1000000 0 0 200000 0 0 1
					  180 1700000 0 1100000 0 543000 267000 0 0 1>;
		};
		boot_device@7 {
			net_boost,label="WIFI RX";
			net_boost,node="wlan0";
			net_boost,table_size = <2>;
			net_boost,table= <
				80 1500000 0 1200000 0 0 200000 0 0 0
				180 1800000 0 1300000 0 543000 267000 1 1 1
				>;
		};
	};

	/* BT Uart */
	pinctrl@114B0000 {
		uart_aud_rts: uart-aud-rts {
			samsung,pins = "gpz1-3";
			samsung,pin-function = <2>;
			samsung,pin-pud = <0>;
			samsung,pin-con-pdn = <1>;
			samsung,pin-pud-pdn = <0>;
		};
		uart_aud_cts: uart-aud-cts {
			samsung,pins = "gpz1-2";
			samsung,pin-function = <2>;
			samsung,pin-pud = <0>;
			samsung,pin-con-pdn = <2>;
			samsung,pin-pud-pdn = <0>;
		};
		uart_aud_rx: uart-aud-rx {
			samsung,pins = "gpz1-1";
			samsung,pin-function = <2>;
			samsung,pin-pud = <0>;
			samsung,pin-con-pdn = <2>;
			samsung,pin-pud-pdn = <0>;
		};
		uart_aud_tx: uart-aud-tx {
			samsung,pins = "gpz1-0";
			samsung,pin-function = <2>;
			samsung,pin-pud = <0>;
			samsung,pin-con-pdn = <1>;
			samsung,pin-pud-pdn = <0>;
		};
	};

	serial@11460000 {
		pinctrl-0 = <&uart_aud_rts &uart_aud_cts &uart_aud_rx &uart_aud_tx>;
		pinctrl-1 = <&uart_aud_rx &uart_aud_tx &uart_aud_bus_idle>;
	};

	/* GPS */
	pinctrl@14CC0000 {
		uart0_rts: uart0-rts {
			samsung,pins = "gpd0-3";
			samsung,pin-function = <2>;
			samsung,pin-pud = <1>;
			samsung,pin-con-pdn = <3>;
			samsung,pin-pud-pdn = <1>;
		};

		uart0_cts: uart0-cts {
			samsung,pins = "gpd0-2";
			samsung,pin-function = <2>;
			samsung,pin-pud = <1>;
			samsung,pin-con-pdn = <3>;
			samsung,pin-pud-pdn = <1>;
		};

		uart0_tx: uart0-tx {
			samsung,pins = "gpd0-1";
			samsung,pin-function = <2>;
			samsung,pin-pud = <3>;
			samsung,pin-con-pdn = <3>;
			samsung,pin-pud-pdn = <3>;
		};

		uart0_rx: uart0-rx {
			samsung,pins = "gpd0-0";
			samsung,pin-function = <2>;
			samsung,pin-pud = <3>;
			samsung,pin-con-pdn = <3>;
			samsung,pin-pud-pdn = <3>;
		};
	};

	serial@14C10000 {
		pinctrl-0 = <&uart0_rts &uart0_cts &uart0_tx &uart0_rx>;
	};

	gps {
		compatible = "samsung,exynos54xx-bcm4752";
		gpios = <&gpj2 1 0x1>;  /* GPS_PWR_EN */
		status = "okay";
	};

	/* S2MPS13 */
	pinctrl@15690000 {	/* BUCK6_DVS */
		pm_dvs_en: pm-dvs-en {
			samsung,pins = "gpr3-4";
			samsung,pin-pud = <0>;
		};

		sd1_cmd: sd1-cmd {
			samsung,pin-drv = <2>;
		};
	};
	pinctrl@11090000 {	/* BUCK6EN */
		pm_g3d_en: pm-g3d-en {
			samsung,pins = "gpf0-1";
			samsung,pin-pud = <3>;
		};
	};
	hsi2c@14E40000 {
		s2mps13_pmic@66 {
			pinctrl-names = "default";
			pinctrl-0 = <&pm_g3d_en &pm_dvs_en &pmic_irq &pm_wrsti &gpa3_pull_up>;
			gpios = <&gpa3 7 0>, <&gpf0 1 0x1>, <&gpr3 4 0x1>;
			g3d_en = <1>; /* 1 : enable , 0 : disable */
			smpl_warn_vth = <0x40>;
			check_jigon = <1>; /* check jigon */
			regulators {
				buck1_reg: BUCK1 {
					regulator-name = "vdd_mif";
					regulator-min-microvolt = <600000>;
					regulator-max-microvolt = <1500000>;
					regulator-always-on;
					regulator-boot-on;
					regulator-ramp-delay = <12000>;
					regulator-initial-mode = <1>;
				};

				buck2_reg: BUCK2 {
					regulator-name = "vdd_eagle";
					regulator-min-microvolt = <600000>;
					regulator-max-microvolt = <1500000>;
					regulator-always-on;
					regulator-boot-on;
					regulator-ramp-delay = <12000>;
					regulator-initial-mode = <1>;
				};

				buck3_reg: BUCK3 {
					regulator-name = "vdd_kfc";
					regulator-min-microvolt = <600000>;
					regulator-max-microvolt = <1500000>;
					regulator-always-on;
					regulator-boot-on;
					regulator-ramp-delay = <12000>;
					regulator-initial-mode = <1>;
				};

				buck4_reg: BUCK4 {
					regulator-name = "vdd_int";
					regulator-min-microvolt = <600000>;
					regulator-max-microvolt = <1500000>;
					regulator-always-on;
					regulator-boot-on;
					regulator-ramp-delay = <12000>;
					regulator-initial-mode = <1>;
				};

				buck5_reg: BUCK5 {
					regulator-name = "vdd_disp_cam0";
					regulator-min-microvolt = <600000>;
					regulator-max-microvolt = <1500000>;
					regulator-always-on;
					regulator-boot-on;
					regulator-ramp-delay = <12000>;
					regulator-initial-mode = <1>;
				};

				buck6_reg: BUCK6 {
					regulator-name = "vdd_g3d";
					regulator-min-microvolt = <600000>;
					regulator-max-microvolt = <1500000>;
					regulator-always-on;
					regulator-boot-on;
					regulator-ramp-delay = <12000>;
					regulator-initial-mode = <1>;
				};

				ldo2_reg: LDO2 {
					regulator-name = "vqmmc";
					regulator-min-microvolt = <1800000>;
					regulator-max-microvolt = <3300000>;
					regulator-boot-on;
					regulator-ramp-delay = <12000>;
					regulator-initial-mode = <1>;
				};

				ldo3_reg: LDO3 {
					regulator-name = "VDD1_E_1.8V_AP";
					regulator-min-microvolt = <1800000>;
					regulator-max-microvolt = <1800000>;
					regulator-always-on;
				};

				ldo11_reg: LDO11 {
					regulator-name = "vdd_int_m";
					regulator-min-microvolt = <600000>;
					regulator-max-microvolt = <1500000>;
					regulator-always-on;
					regulator-boot-on;
					regulator-ramp-delay = <12000>;
					regulator-initial-mode = <1>;
				};

				ldo17_reg: LDO17 {
					regulator-name = "vmmc";
					regulator-min-microvolt = <2800000>;
					regulator-max-microvolt = <2800000>;
				};

				ldo18_reg: LDO18 {
					regulator-name = "vdd_codec_1p8_ap";
					regulator-min-microvolt = <1800000>;
					regulator-max-microvolt = <1800000>;
					regulator-always-on;
				};

				ldo21_reg: LDO21 {
					regulator-name = "VT_CAM_1.8V";
					regulator-min-microvolt = <1800000>;
					regulator-max-microvolt = <1800000>;
				};

				ldo22_reg: LDO22 {
					regulator-name = "CAM_IO_1.8V_AP";
					regulator-min-microvolt = <1800000>;
					regulator-max-microvolt = <1800000>;
				};

				ldo23_reg: LDO23 {
					regulator-name = "CAM_SEN_CORE_1.2V_AP";
					regulator-min-microvolt = <1200000>;
					regulator-max-microvolt = <1200000>;
				};

				ldo24_reg: LDO24 {
					regulator-name = "VT_CAM_1.2V";
					regulator-min-microvolt = <1250000>;
					regulator-max-microvolt = <1250000>;
				};

				ldo25_reg: LDO25 {
					regulator-name = "vtouch_2.8v";
					regulator-min-microvolt = <2800000>;
					regulator-max-microvolt = <2800000>;
					regulator-boot-on;
				};

				ldo26_reg: LDO26 {
					regulator-name = "CAM_AF_2.8V_AP";
					regulator-min-microvolt = <2800000>;
					regulator-max-microvolt = <2800000>;
				};

				ldo27_reg: LDO27 {
					regulator-name = "VCC_3.0V_LCD_AP";
					regulator-min-microvolt = <3000000>;
					regulator-max-microvolt = <3000000>;
					regulator-boot-on;
				};

				ldo28_reg: LDO28 {
					regulator-name = "VCC_1.8V_LCD_AP";
					regulator-min-microvolt = <1800000>;
					regulator-max-microvolt = <1800000>;
					regulator-boot-on;
				};

				ldo29_reg: LDO29 {
					regulator-name = "VT_CAM_2.8V";
					regulator-min-microvolt = <2800000>;
					regulator-max-microvolt = <2800000>;
				};

				ldo30_reg: LDO30 {
					regulator-name = "tsp_avdd";
					regulator-min-microvolt = <3300000>;
					regulator-max-microvolt = <3300000>;
				};

				ldo31_reg: LDO31 {
					regulator-name = "tsp_io";
					regulator-min-microvolt = <1800000>;
					regulator-max-microvolt = <1800000>;
				};

				ldo33_reg: LDO33 {
					regulator-name = "vtouch_led_2.8v";
					regulator-min-microvolt = <2800000>;
					regulator-max-microvolt = <2800000>;
					regulator-boot-on;
				};

				ldo35_reg: LDO35 {
					regulator-name = "VDD_SENSOR_2.85V";
					regulator-min-microvolt = <2850000>;
					regulator-max-microvolt = <2850000>;
					regulator-always-on;
				};

				ldo39_reg: LDO39 {
					regulator-name = "VDD_PERI_1.8V";
					regulator-min-microvolt = <1800000>;
					regulator-max-microvolt = <1800000>;
					regulator-always-on;
				};

				ldo40_reg: LDO40 {
					regulator-name = "vdd_codec_3p3_ap";
					regulator-min-microvolt = <3300000>;
					regulator-max-microvolt = <3300000>;
					regulator-always-on;
				};
			};
		};
	};

	pinctrl@10580000 {
		elon1_det: elon1_det {
			samsung,pins = "gpf5-5";
			samsung,pin-function = <0>;	/* 0 : IN, 1 : OUT, 0x0f : INT*/
			samsung,pin-pud = <0>;	/* 0=PN, 1=PD, 2=Reserved, 3=PU */
		};
	};
	pinctrl@14CC0000 {
		disp_pcd: disp_pcd {
			samsung,pins = "gpv7-1";
			samsung,pin-function = <0xf>;
			samsung,pin-pud = <1>;
		};
		disp_errfg: disp_errfg {
			samsung,pins = "gpb0-4";
			samsung,pin-function = <0xf>;
			samsung,pin-pud = <1>;
		};
		disp_errfg_off: disp_errfg_off {
			samsung,pins = "gpb0-4";
			samsung,pin-function = <1>;
			samsung,pin-pud = <1>;
			samsung,pin-val = <0>;
		};
	};
	/* disp_driver */
	decon_fb: decon_fb {
//		oled-id-gpio = <&gpf2 1 0x0>;
		oled-pcd-gpio = <&gpv7 1 0xf>;
		oled-errfg-gpio = <&gpb0 4 0xf>;
		lcd_info = <&s6e3fa3x01>;
		decon_board = <&decon_board_list>;
		pinctrl-names = "default", "turnon_tes", "turnoff_tes", "errfg_off";
		pinctrl-0 = <&disp_pcd &disp_errfg &elon1_det>;
		pinctrl-1 = <&disp_pcd &disp_errfg &disp_teson &elon1_det>;
		pinctrl-2 = <&disp_tesoff>;
		pinctrl-3 = <&disp_pcd &disp_errfg_off &disp_teson>;
		decon: decon_ctrl {
			samsung,max_bpp = <32>;
			samsung,default_bpp = <24>;
			fb_driver_data {
				fb_win_variant_0 {
					has_osd_c = <1>;
					has_osd_d = <1>;
					osd_size_off = <0x08>;
					palette_size = <256>;
					VALID_BPP_1248 = <1>;
					VALID_BPP_13 = <1>;
					VALID_BPP_15 = <1>;
					VALID_BPP_16 = <1>;
					VALID_BPP_18 = <1>;
					VALID_BPP_19 = <1>;
					VALID_BPP_24 = <1>;
					VALID_BPP_25 = <1>;
					VALID_BPP_32 = <1>;
				};
				fb_win_variant_1 {
					has_osd_c = <1>;
					has_osd_d = <1>;
					has_osd_alpha = <1>;
					osd_size_off = <0x0c>;
					palette_size = <256>;
					VALID_BPP_1248 = <1>;
					VALID_BPP_13 = <1>;
					VALID_BPP_15 = <1>;
					VALID_BPP_16 = <1>;
					VALID_BPP_18 = <1>;
					VALID_BPP_19 = <1>;
					VALID_BPP_24 = <1>;
					VALID_BPP_25 = <1>;
					VALID_BPP_32 = <1>;
				};
				fb_win_variant_2 {
					has_osd_c = <1>;
					has_osd_d = <1>;
					has_osd_alpha = <1>;
					osd_size_off = <0x0c>;
					palette_size = <256>;
					VALID_BPP_1248 = <1>;
					VALID_BPP_13 = <1>;
					VALID_BPP_15 = <1>;
					VALID_BPP_16 = <1>;
					VALID_BPP_18 = <1>;
					VALID_BPP_19 = <1>;
					VALID_BPP_24 = <1>;
					VALID_BPP_25 = <1>;
					VALID_BPP_32 = <1>;
				};
				fb_win_variant_3 {
					has_osd_c = <1>;
					has_osd_alpha = <1>;
					palette_size = <256>;
					VALID_BPP_1248 = <1>;
					VALID_BPP_13 = <1>;
					VALID_BPP_15 = <1>;
					VALID_BPP_16 = <1>;
					VALID_BPP_18 = <1>;
					VALID_BPP_19 = <1>;
					VALID_BPP_24 = <1>;
					VALID_BPP_25 = <1>;
					VALID_BPP_32 = <1>;
				};
				fb_win_variant_4 {
					has_osd_c = <1>;
					has_osd_alpha = <1>;
					palette_size = <256>;
					VALID_BPP_1248 = <1>;
					VALID_BPP_13 = <1>;
					VALID_BPP_15 = <1>;
					VALID_BPP_16 = <1>;
					VALID_BPP_18 = <1>;
					VALID_BPP_19 = <1>;
					VALID_BPP_24 = <1>;
					VALID_BPP_25 = <1>;
					VALID_BPP_32 = <1>;
				};
			};
		};
		mipi_dsi: mipi_dsi {
			/* Interface definition: 0 - DSIM_COMMAND,
						 1 - DSIM_VIDEO */
			e_interface = <0>;
			/* Pixel format : 0 - DSIM_CMD_3BPP,
					  1 - DSIM_CMD_8BPP,
					  2 - DSIM_CMD_12BPP,
					  3 - DSIM_CMD_16BPP,
					  4 - DSIM_VID_16BPP_565,
					  5 - DSIM_VID_18BPP_666PACKED,
					  6 - DSIM_18BPP_666LOOSELYPACKED,
					  7 - DSIM_24BPP_888 */
			e_pixel_format = <7>;
			/* main frame fifo auto flush at VSYNC pulse */
			auto_flush = <0>;
			eot_disable = <1>;
			auto_vertical_cnt = <0>;
			hse = <0>;
			hfp = <0>;
			hbp = <0>;
			hsa = <0>;
			/* num of data lane : 0 - DSIM_DATA_LANE_1,
					      1 - DSIM_DATA_LANE_2,
					      2 - DSIM_DATA_LANE_3,
					      3 - DSIM_DATA_LANE_4 */
			e_no_data_lane = <3>;
			/* byte clock divider : 0 - DSIM_PLL_OUT_DIV8,
						1 - DSIM_EXT_CLK_DIV8,
						2 - DSIM_EXT_CLK_BYPASS */
			e_byte_clk = <0>;
			/* Burst mode : 0 - DSIM_NON_BURST_SYNC_EVENT,
					2 - DSIM_NON_BURST_SYNC_PULSE,
					1 - DSIM_BURST
					4 - DSIM_NON_VIDEO_MODE */
			e_burst_mode = <1>;
			/* D-PHY PLL stable time spec :min = 200usec ~ max 400usec */
			pll_stable_time = <500>;
			/* escape clk : 7MHz */
			esc_clk = <7000000>;
			/* stop state holding counter after bta change count 0 ~ 0xfff */
			stop_holding_cnt = <0x0fff>;
			/* bta timeout 0 ~ 0xff */
			bta_timeout = <0xff>;
			/* lp rx timeout 0 ~ 0xffff */
			rx_timeout = <0xffff>;
		};
/*		decon_mic: decon_mic {
			sysreg1 = <0x13B81004>;
			sysreg2 = <0x13B81048>;
		};*/
		s6e3fa3x01: s6e3fa3x01_fhd {
			mode = <0>;
			resolution = <1080 1920>;
			size = <71 126>;
			timing,refresh = <60>;
			timing,h-porch = <1 1 1>;
			timing,v-porch = <15 1 1>;
			timing,dsi-hs-clk = <996>;
			timing,dsi-escape-clk = <17>;
			timing,hsync-2h-cycle = <1>;
			type_of_ddi = <1>; /* 0:Samsung Mobile, 1:MAGNA, 2:Normal(Etc) */
			//mic = <1>;
		};
		decon_board_list: decon_board_list {
			enable_display_driver_power {
				type = "regulator,enable", "gpio,high", "regulator,enable", "delay,usleep", "pinctrl,default", "pinctrl,turnon_tes";
				desc = "Turn on VDDI(VDD3): 1.8", "Turn on VDDR(VDDI_REG): 1.5", "Turn on VCI: 3.0", "Wait 10ms", "default", "turnon_tes";
				gpios = <&gpf1 5 0x1>;
				delay = <10000 11000>;
				regulator = "VCC_1.8V_LCD_AP", "VCC_3.0V_LCD_AP";
			};
			disable_display_driver_power {
				type = "gpio,low", "regulator,disable", "gpio,low", "delay,usleep", "regulator,disable", "pinctrl,turnoff_tes";
				desc = "", "Turn off VCI: 3.0", "Turn on VDDR(VDDI_REG): 1.5", "Wait 3ms", "Turn off VDDI(VDD3): 1.8", "turnoff_tes";
				gpios = <&gpv7 2 0x1>, <&gpf1 5 0x1>;
				delay = <3000 5000>;
				regulator = "VCC_3.0V_LCD_AP", "VCC_1.8V_LCD_AP";
			};
			reset_display_driver_panel {
				type = "delay,usleep","gpio,high", "delay,usleep", "gpio,low", "delay,usleep", "gpio,high", "delay,usleep";
				gpios = <&gpv7 2 0x1>, <&gpv7 2 0x1>, <&gpv7 2 0x1>;
				delay = <5000 6000>, <5000 6000>, <5000 6000>, <10000 11000>;
			};
		};
	};

	pinctrl@10580000 {
		simslot_irq: simslot-irq {
			samsung,pins = "gpf1-0";
			samsung,pin-function = <0>;
			samsung,pin-pud = <0>;
			samsung,pin-drv = <0>;
		};
	};

	simslot_count {
		status = "okay";
		compatible = "simslot_count";
		pinctrl-names = "default";
		pinctrl-0 = <&simslot_irq>;
		gpios = <&gpf1 0 0>;
	};
};
